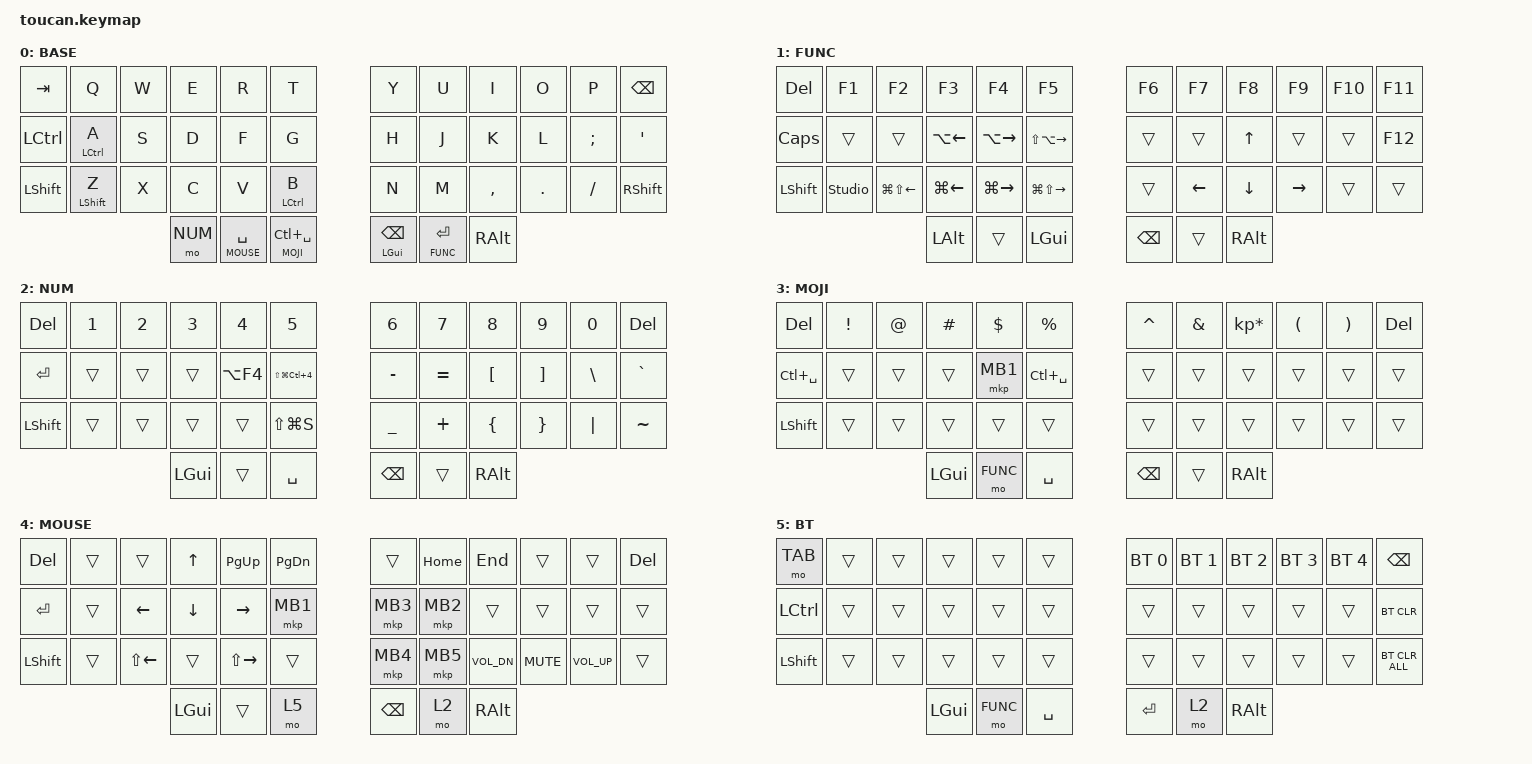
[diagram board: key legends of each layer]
#include <behaviors.dtsi>
#include <dt-bindings/zmk/keys.h>
#include <dt-bindings/zmk/bt.h>
#include <dt-bindings/zmk/outputs.h>
#include <dt-bindings/zmk/pointing.h>


#define BASE 0
#define FUNC  1
#define NUM  2
#define MOJI  3
#define MOUSE  4
#define BT  5

/ {
    combos {
        compatible = "zmk,combos";

        c_esc {
          bindings = <&kp ESC>;
          key-positions = <2 3>;
        };
        c_tab {
          bindings = <&kp TAB>;
          key-positions = <14 15>;
        };
        c_shift_tab {
          bindings = <&kp LS(TAB)>;
          key-positions = <15 16>;
        };
        c_minus {
          bindings = <&kp MINUS>;
          key-positions = <20 21>;
        };
        c_moji_ime {
          bindings = <&kp LC(SPACE)>;
          key-positions = <26 27>;
        };
    };
    behaviors {
        moji_ime: moji_ime {
        compatible = "zmk,behavior-hold-tap";
        label = "MOJI_IME";
        #binding-cells = <2>;

        flavor = "balanced";
        tapping-term-ms = <600>;
        quick-tap-ms = <0>;

        /* hold側に &mo / tap側に &kp を割り当てる */
        bindings = <&mo>, <&kp>;
        };
    };

    keymap {
        compatible = "zmk,keymap";

        base {
            display-name = "BASE";
            bindings = <
                &kp TAB   &kp Q &kp W &kp E &kp R &kp T   &kp Y &kp U  &kp I     &kp O   &kp P    &kp BSPC
                &kp LCTRL &mt LCTRL A &kp S &kp D &kp F &kp G   &kp H &kp J  &kp K     &kp L   &kp SEMI &kp SQT
                &kp LSHFT &mt LSHFT Z &kp X &kp C &kp V &mt LCTRL B   &kp N &kp M  &kp COMMA &kp DOT &kp FSLH &kp RSHFT
                                &mo NUM &lt MOUSE SPACE &moji_ime MOJI LC(SPACE)  &mt LGUI BSPC &lt FUNC RET &kp RALT
            >;
        };

        func {
            display-name = "FUNC";
            bindings = <
                &kp DEL     &kp F1          &kp F2       &kp F3       &kp F4       &kp F5         &kp F6   &kp F7   &kp F8   &kp F9    &kp F10   &kp F11
                &kp CAPS  &trans    &trans &kp LA(LEFT_ARROW) &kp LA(RIGHT_ARROW) &kp LS(LA(RIGHT_ARROW))    &trans &trans &kp UP   &trans &trans    &kp F12
                &kp LSHFT   &studio_unlock  &kp LG(LS(LEFT_ARROW))  &kp LG(LEFT_ARROW)  &kp LG(RIGHT_ARROW)  &kp LG(LS(RIGHT_ARROW))         &trans   &kp LEFT &kp DOWN &kp RIGHT    &trans &trans
                                                &kp LALT     &trans       &kp LGUI     &kp BSPC  &trans   &kp RALT
            >;
        };

        num {
            display-name = "NUM";
            bindings = <
                &kp DEL &kp N1          &kp N2       &kp N3       &kp N4       &kp N5         &kp N6   &kp N7   &kp N8 &kp N9    &kp N0 &kp DEL
                &kp RET &trans   &trans &trans   &kp LA(F4)   &kp LS(LG(LC(NUMBER_4)))      &kp MINUS &kp EQUAL &kp LBKT        &kp RBKT &kp BSLH &kp GRAVE
                &kp LSHFT &trans   &trans &trans   &trans   &kp LS(LG(S))       &kp UNDER &kp PLUS  &kp LBRC        &kp RBRC &kp PIPE &kp TILDE
                                          &kp LGUI &trans   &kp SPACE   &kp BSPC   &trans    &kp RALT
            >;
        };

        moji {
            display-name = "MOJI";
            bindings = <
                &kp DEL   &kp EXCL &kp AT &kp HASH &kp DLLR &kp PRCNT   &kp CARET &kp AMPS  &kp KP_MULTIPLY &kp LPAR &kp RPAR &kp DEL
                &kp LC(SPACE) &trans &trans &trans &mkp MB1 &kp LC(SPACE)   &trans       &trans      &trans       &trans &trans &trans
                &kp LSHFT &trans &trans &trans &trans &trans   &trans       &trans      &trans       &trans &trans &trans
                                   &kp LGUI &mo FUNC &kp SPACE   &kp BSPC &trans &kp RALT
            >;
        };
        mouse {
            display-name = "MOUSE";
            bindings = <
                &kp DEL   &trans &trans &kp UP &kp PAGE_UP &kp PAGE_DOWN   &trans &kp HOME  &kp END &trans &trans &kp DEL
                &kp RET &trans &kp LEFT &kp DOWN &kp RIGHT &mkp MB1   &mkp MB3       &mkp MB2   &trans       &trans &trans &trans
                &kp LSHFT &trans &kp LS(LEFT_ARROW) &trans &kp LS(RIGHT_ARROW) &trans   &mkp MB4       &mkp MB5      &kp C_VOL_DN &kp C_MUTE  &kp C_VOL_UP &trans
                                   &kp LGUI &trans &mo 5   &kp BSPC &mo 2 &kp RALT
            >;
        };
        bt {
            display-name = "BT";
            bindings = <
                &mo TAB   &trans &trans &trans &trans &trans   &bt BT_SEL 0 &bt BT_SEL 1  &bt BT_SEL 2 &bt BT_SEL 3 &bt BT_SEL 4 &kp BSPC
                &kp LCTRL &trans &trans &trans &trans &trans   &trans       &trans      &trans       &trans &trans &bt BT_CLR
                &kp LSHFT &trans &trans &trans &trans &trans   &trans       &trans      &trans       &trans &trans &bt BT_CLR_ALL
                                   &kp LGUI &mo FUNC &kp SPACE   &kp RET &mo 2 &kp RALT
            >;
        };
        extra_1 {
                status = "reserved";
        };

        extra_2 {
                status = "reserved";
        };

        extra_3 {
                status = "reserved";
        };
    };
};
